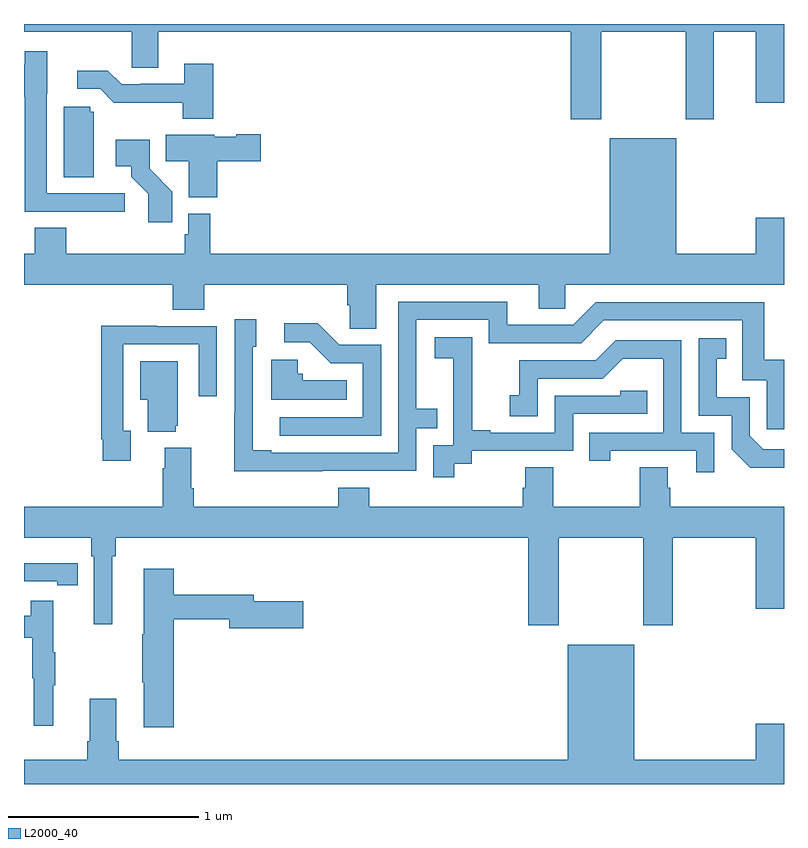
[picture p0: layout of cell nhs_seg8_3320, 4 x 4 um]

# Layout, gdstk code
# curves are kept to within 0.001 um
import gdstk
lib = gdstk.Library(unit=1e-6, precision=1e-09)
def P(c, l, *ps):  # polygons
    for p in ps: c.add(gdstk.Polygon(p, *l))
L2000_40 = (2000, 40)

nhs_seg8_3320 = lib.new_cell('nhs_seg8_3320')
P(nhs_seg8_3320, L2000_40, [(320.037,1089.86),(320.482,1089.86),(320.482,1089.399),(320.629,1089.399),(320.629,1089.86),(320.852,1089.86),(320.852,1089.486),(321,1089.486),(321,1089.9),(317,1089.9),(317,1089.86),(317.568,1089.86),(317.568,1089.67),(317.707,1089.67),(317.707,1089.86),(319.877,1089.86),(319.877,1089.399),(320.037,1089.399)],
  [(317.53,1089.009),(317.121,1089.009),(317.121,1089.534),(317.122,1089.534),(317.122,1089.757),(317.005,1089.757),(317.005,1089.688),(317,1089.688),(317,1089.518),(317.005,1089.518),(317.005,1088.913),(317.305,1088.913),(317.305,1088.911),(317.53,1088.911)],
  [(317.996,1089.691),(317.843,1089.691),(317.843,1089.585),(317.614,1089.585),(317.614,1089.582),(317.514,1089.582),(317.441,1089.655),(317.28,1089.655),(317.28,1089.558),(317.4,1089.558),(317.473,1089.485),(317.836,1089.486),(317.836,1089.401),(317.996,1089.401)],
  [(317.368,1089.438),(317.349,1089.438),(317.349,1089.465),(317.21,1089.465),(317.21,1089.094),(317.368,1089.094)],
  [(318.017,1089.178),(318.247,1089.178),(318.247,1089.32),(318.117,1089.32),(318.117,1089.307),(318,1089.307),(318,1089.316),(317.746,1089.316),(317.746,1089.178),(317.867,1089.178),(317.867,1088.987),(318.017,1088.987)],
  [(318.853,1088.528),(319.709,1088.528),(319.709,1088.401),(319.848,1088.401),(319.848,1088.528),(321,1088.528),(321,1088.881),(320.852,1088.881),(320.852,1088.692),(320.434,1088.692),(320.434,1089.298),(320.084,1089.298),(320.084,1088.692),(317.981,1088.692),(317.981,1088.902),(317.865,1088.902),(317.865,1088.793),(317.845,1088.793),(317.845,1088.692),(317.222,1088.692),(317.222,1088.828),(317.057,1088.828),(317.057,1088.692),(317,1088.692),(317,1088.528),(317.783,1088.528),(317.783,1088.395),(317.948,1088.395),(317.948,1088.528),(318.701,1088.528),(318.701,1088.419),(318.714,1088.419),(318.714,1088.296),(318.853,1088.296)],
  [(317.78,1089.018),(317.661,1089.137),(317.661,1089.292),(317.484,1089.292),(317.484,1089.152),(317.564,1089.152),(317.564,1089.097),(317.655,1089.007),(317.655,1088.856),(317.78,1088.856)],
  [(318.569,1087.548),(319.065,1087.548),(319.065,1087.773),(319.175,1087.773),(319.175,1087.874),(319.065,1087.874),(319.065,1088.343),(319.446,1088.343),(319.446,1088.22),(319.932,1088.22),(320.052,1088.34),(320.781,1088.34),(320.781,1088.025),(320.91,1088.025),(320.91,1087.767),(321,1087.767),(321,1088.134),(320.897,1088.134),(320.897,1088.436),(320.01,1088.436),(319.89,1088.316),(319.543,1088.316),(319.543,1088.439),(318.969,1088.439),(318.969,1087.644),(318.301,1087.644),(318.301,1087.657),(318.204,1087.657),(318.204,1088.202),(318.223,1088.202),(318.223,1088.347),(318.108,1088.347),(318.108,1087.853),(318.106,1087.853),(318.106,1087.547)],
  [(318.879,1088.211),(318.66,1088.211),(318.547,1088.324),(318.369,1088.324),(318.369,1088.226),(318.503,1088.226),(318.614,1088.115),(318.783,1088.115),(318.783,1087.83),(318.345,1087.83),(318.345,1087.734),(318.879,1087.734)],
  [(317.563,1087.758),(317.523,1087.758),(317.523,1088.214),(317.919,1088.214),(317.919,1087.941),(318.015,1087.941),(318.015,1088.31),(317.699,1088.31),(317.699,1088.312),(317.407,1088.312),(317.407,1087.714),(317.415,1087.714),(317.415,1087.602),(317.563,1087.602)],
  [(319.264,1087.585),(319.356,1087.585),(319.356,1087.653),(319.89,1087.653),(319.89,1087.848),(320.279,1087.848),(320.279,1087.971),(320.139,1087.971),(320.139,1087.944),(319.794,1087.944),(319.794,1087.749),(319.453,1087.749),(319.453,1087.762),(319.358,1087.762),(319.358,1088.045),(319.359,1088.045),(319.359,1088.251),(319.161,1088.251),(319.161,1088.141),(319.259,1088.141),(319.259,1087.913),(319.26,1087.913),(319.26,1087.683),(319.155,1087.683),(319.155,1087.515),(319.264,1087.515)],
  [(321,1087.662),(320.892,1087.662),(320.82,1087.734),(320.82,1087.935),(320.647,1087.935),(320.647,1088.139),(320.696,1088.139),(320.696,1088.245),(320.55,1088.245),(320.55,1087.839),(320.724,1087.839),(320.724,1087.662),(320.822,1087.565),(321,1087.565)],
  [(320.634,1087.749),(320.46,1087.749),(320.46,1088.235),(320.114,1088.235),(320.009,1088.13),(319.606,1088.13),(319.606,1087.945),(319.557,1087.945),(319.557,1087.836),(319.704,1087.836),(319.704,1088.034),(320.046,1088.034),(320.15,1088.138),(320.364,1088.138),(320.364,1087.749),(319.975,1087.749),(319.975,1087.602),(320.086,1087.602),(320.086,1087.653),(320.537,1087.653),(320.537,1087.542),(320.634,1087.542)],
  [(318.698,1088.026),(318.468,1088.026),(318.468,1088.058),(318.441,1088.058),(318.441,1088.134),(318.302,1088.134),(318.302,1087.922),(318.698,1087.922)],
  [(317.798,1087.785),(317.809,1087.785),(317.809,1088.125),(317.612,1088.125),(317.612,1087.922),(317.651,1087.922),(317.651,1087.754),(317.798,1087.754)],
  [(319.815,1087.196),(320.26,1087.196),(320.26,1086.735),(320.415,1086.735),(320.415,1087.196),(320.852,1087.196),(320.852,1086.822),(321,1086.822),(321,1087.36),(320.402,1087.36),(320.402,1087.458),(320.389,1087.458),(320.389,1087.568),(320.242,1087.568),(320.242,1087.36),(319.785,1087.36),(319.785,1087.568),(319.637,1087.568),(319.637,1087.458),(319.625,1087.458),(319.625,1087.36),(318.818,1087.36),(318.818,1087.459),(318.653,1087.459),(318.653,1087.36),(317.894,1087.36),(317.894,1087.456),(317.881,1087.456),(317.881,1087.669),(317.741,1087.669),(317.741,1087.562),(317.729,1087.562),(317.729,1087.36),(317,1087.36),(317,1087.196),(317.354,1087.196),(317.354,1087.1),(317.367,1087.1),(317.367,1086.741),(317.464,1086.741),(317.464,1087.1),(317.483,1087.1),(317.483,1087.196),(319.655,1087.196),(319.655,1086.735),(319.815,1086.735)],
  [(317.282,1087.062),(317.174,1087.062),(317.174,1087.063),(317,1087.063),(317,1086.966),(317.174,1086.966),(317.174,1086.946),(317.282,1086.946)],
  [(317.789,1086.766),(318.08,1086.766),(318.08,1086.719),(318.469,1086.719),(318.469,1086.861),(318.208,1086.861),(318.208,1086.895),(317.789,1086.895),(317.789,1087.033),(317.63,1087.033),(317.63,1086.689),(317.623,1086.689),(317.623,1086.436),(317.63,1086.436),(317.63,1086.198),(317.789,1086.198)],
  [(317.153,1086.419),(317.164,1086.419),(317.164,1086.593),(317.153,1086.593),(317.153,1086.865),(317.035,1086.865),(317.035,1086.786),(317,1086.786),(317,1086.67),(317.043,1086.67),(317.043,1086.456),(317.05,1086.456),(317.05,1086.207),(317.153,1086.207)],
  [(321,1086.217),(320.852,1086.217),(320.852,1086.028),(320.212,1086.028),(320.212,1086.634),(319.862,1086.634),(319.862,1086.028),(317.498,1086.028),(317.498,1086.124),(317.485,1086.124),(317.485,1086.349),(317.345,1086.349),(317.345,1086.124),(317.333,1086.124),(317.333,1086.028),(317,1086.028),(317,1085.9),(321,1085.9)])

lib.write_gds('nhs_seg8_3320.gds')
